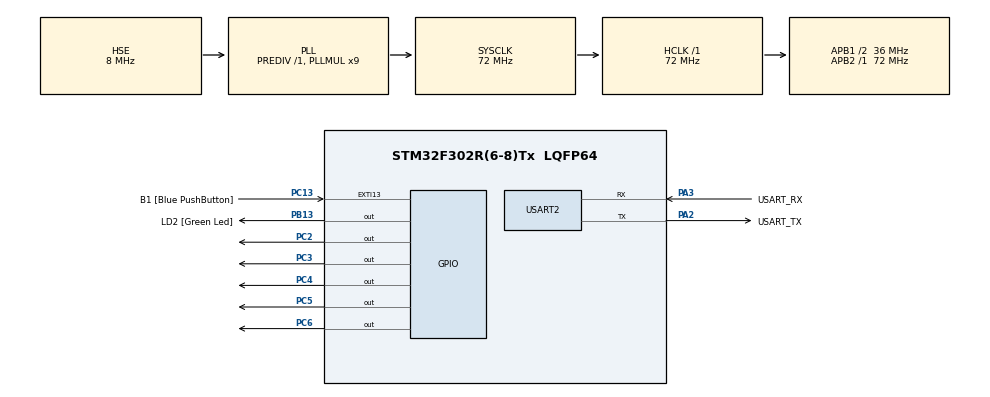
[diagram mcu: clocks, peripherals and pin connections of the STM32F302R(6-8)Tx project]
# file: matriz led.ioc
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Mcu.Family=STM32F3
Mcu.Name=STM32F302R(6-8)Tx
Mcu.Package=LQFP64
NVIC.PriorityGroup=NVIC_PRIORITYGROUP_0
PA13.GPIO_Label=TMS
PA13.Mode=Serial_Wire
PA13.Signal=SYS_JTMS-SWDIO
PA14.GPIO_Label=TCK
PA14.Mode=Serial_Wire
PA14.Signal=SYS_JTCK-SWCLK
PA2.GPIO_Label=USART_TX
PA2.GPIO_Mode=GPIO_MODE_AF_PP
PA2.GPIO_PuPd=GPIO_NOPULL
PA2.GPIO_Speed=GPIO_SPEED_FREQ_LOW
PA2.Mode=Asynchronous
PA2.Signal=USART2_TX
PA3.GPIO_Label=USART_RX
PA3.GPIO_Mode=GPIO_MODE_AF_PP
PA3.GPIO_PuPd=GPIO_NOPULL
PA3.GPIO_Speed=GPIO_SPEED_FREQ_LOW
PA3.Mode=Asynchronous
PA3.Signal=USART2_RX
PB13.GPIO_Label=LD2 [Green Led]
PB13.Signal=GPIO_Output
PB3.GPIO_Label=SWO
PB3.Mode=Trace_Asynchronous_SW
PB3.Signal=SYS_JTDO-TRACESWO
PC13.GPIO_Label=B1 [Blue PushButton]
PC13.GPIO_ModeDefaultEXTI=GPIO_MODE_IT_FALLING
PC13.Signal=GPXTI13
PC14\ -\ OSC32_IN.Signal=RCC_OSC32_IN
PC15\ -\ OSC32_OUT.Signal=RCC_OSC32_OUT
PC2.Signal=GPIO_Output
PC3.Signal=GPIO_Output
PC4.Signal=GPIO_Output
PC5.Signal=GPIO_Output
PC6.Signal=GPIO_Output
PF0-OSC_IN.Mode=HSE-External-Oscillator
PF0-OSC_IN.Signal=RCC_OSC_IN
PF1-OSC_OUT.Mode=HSE-External-Oscillator
PF1-OSC_OUT.Signal=RCC_OSC_OUT
ProjectManager.HeapSize=0x200
ProjectManager.StackSize=0x400
ProjectManager.TargetToolchain=STM32CubeIDE
RCC.AHBFreq_Value=72000000
RCC.APB1CLKDivider=RCC_HCLK_DIV2
RCC.APB1Freq_Value=36000000
RCC.APB1TimFreq_Value=72000000
RCC.APB2Freq_Value=72000000
RCC.APB2TimFreq_Value=72000000
RCC.CortexFreq_Value=72000000
RCC.HCLKFreq_Value=72000000
RCC.HSE_VALUE=8000000
RCC.HSI_VALUE=8000000
RCC.PLLM=8
RCC.PLLMUL=RCC_PLL_MUL9
RCC.PLLN=336
RCC.PLLP=RCC_PLLP_DIV4
RCC.PLLQ=7
RCC.PLLSourceVirtual=RCC_PLLSOURCE_HSE
RCC.SYSCLKFreq_VALUE=72000000
RCC.SYSCLKSourceVirtual=RCC_SYSCLKSOURCE_PLLCLK
RCC.USBFreq_Value=72000000
USART2.VirtualMode-Asynchronous=VM_ASYNC
VP_TIM6_VS_ClockSourceINT.Mode=Enable_Timer
board=NUCLEO-F302R8

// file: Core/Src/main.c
/* USER CODE BEGIN Header */
/**
  ******************************************************************************
  * @file           : main.c
  * @brief          : Main program body
  ******************************************************************************
  * @attention
  *
  * Copyright (c) 2023 STMicroelectronics.
  * All rights reserved.
  *
  * This software is licensed under terms that can be found in the LICENSE file
  * in the root directory of this software component.
  * If no LICENSE file comes with this software, it is provided AS-IS.
  *
  ******************************************************************************
  */
/* USER CODE END Header */
#include "main.h"

/* USER CODE BEGIN Includes */
#include "dotmatrix_8x8.h"
/* USER CODE END Includes */

TIM_HandleTypeDef htim6;

UART_HandleTypeDef huart2;

/* USER CODE BEGIN PV */
uint8_t myfont[36][8]={

		{0x70>>2,0x88>>2,0x98>>2,0xA8>>2,0xC8>>2,0x88>>2,0x88>>2,0x70>>2}, //0
		{0x20>>2,0x60>>2,0x20>>2,0x20>>2,0x20>>2,0x20>>2,0x20>>2,0x70>>2}, //1
		{0x70>>2,0x88>>2,0x08>>2,0x10>>2,0x20>>2,0x40>>2,0x80>>2,0xF8>>2}, //2
		{0x70>>2,0x88>>2,0x08>>2,0x30>>2,0x08>>2,0x08>>2,0x88>>2,0x70>>2}, //3
		{0x10>>2,0x30>>2,0x50>>2,0x90>>2,0xF8>>2,0x10>>2,0x10>>2,0x10>>2}, //4
		{0xF8>>2,0x80>>2,0x80>>2,0xF0>>2,0x08>>2,0x08>>2,0x88>>2,0x70>>2}, //5
		{0x18>>2,0x20>>2,0x40>>2,0x80>>2,0xF0>>2,0x88>>2,0x88>>2,0x70>>2}, //6
		{0xF8>>2,0x08>>2,0x10>>2,0x20>>2,0x40>>2,0x40>>2,0x40>>2,0x40>>2}, //7
		{0x70>>2,0x88>>2,0x88>>2,0x70>>2,0x88>>2,0x88>>2,0x88>>2,0x70>>2}, //8
		{0x70>>2,0x88>>2,0x88>>2,0x88>>2,0x78>>2,0x08>>2,0x10>>2,0x60>>2}, //9
		{0x70>>2,0x88>>2,0x88>>2,0x88>>2,0xF8>>2,0x88>>2,0x88>>2,0x88>>2}, // A   ,10
		{0xF0>>2,0x88>>2,0x88>>2,0xF0>>2,0x88>>2,0x88>>2,0x88>>2,0xF0>>2}, // B   ,11
		{0x70>>2,0x88>>2,0x80>>2,0x80>>2,0x80>>2,0x80>>2,0x88>>2,0x70>>2}, // C		,12
		{0xE0>>2,0x90>>2,0x88>>2,0x88>>2,0x88>>2,0x88>>2,0x90>>2,0xE0>>2}, // D		,13
		{0xF8>>2,0x80>>2,0x80>>2,0xF0>>2,0x80>>2,0x80>>2,0x80>>2,0xF8>>2}, // E		,14
		{0xF8>>2,0x80>>2,0x80>>2,0xF0>>2,0x80>>2,0x80>>2,0x80>>2,0x80>>2}, // F		,15
		{0x70>>2,0x88>>2,0x80>>2,0x80>>2,0xB8>>2,0x88>>2,0x88>>2,0x70>>2}, // G		,16
		{0x88>>2,0x88>>2,0x88>>2,0xF8>>2,0x88>>2,0x88>>2,0x88>>2,0x88>>2}, // H		,17
		{0xF8>>2,0x20>>2,0x20>>2,0x20>>2,0x20>>2,0x20>>2,0x20>>2,0xF8>>2}, // I		,18
		{0x08>>2,0x08>>2,0x08>>2,0x08>>2,0x08>>2,0x88>>2,0x88>>2,0x70>>2}, // J		,19
		{0x88>>2,0x90>>2,0xA0>>2,0xC0>>2,0xC0>>2,0xA0>>2,0x90>>2,0x88>>2}, // K		,20
		{0x80>>2,0x80>>2,0x80>>2,0x80>>2,0x80>>2,0x80>>2,0x80>>2,0xF8>>2}, // L		,21
		{0x88>>2,0xD8>>2,0xA8>>2,0xA8>>2,0x88>>2,0x88>>2,0x88>>2,0x88>>2}, // M		,22
		{0x88>>2,0xC8>>2,0xA8>>2,0xA8>>2,0x98>>2,0x88>>2,0x88>>2,0x88>>2}, // N		,23
		{0x70>>2,0x88>>2,0x88>>2,0x88>>2,0x88>>2,0x88>>2,0x88>>2,0x70>>2}, // O		,24
		{0xF0>>2,0x88>>2,0x88>>2,0x88>>2,0xF0>>2,0x80>>2,0x80>>2,0x80>>2}, // P		,25
		{0x70>>2,0x88>>2,0x88>>2,0x88>>2,0x88>>2,0xA8>>2,0x90>>2,0x68>>2}, // Q		,26
		{0xF0>>2,0x88>>2,0x88>>2,0x88>>2,0xF0>>2,0xA0>>2,0x90>>2,0x88>>2}, // R		,27
		{0x78>>2,0x80>>2,0x80>>2,0x70>>2,0x08>>2,0x08>>2,0x08>>2,0xF0>>2}, // S		,28
		{0xF8>>2,0x20>>2,0x20>>2,0x20>>2,0x20>>2,0x20>>2,0x20>>2,0x20>>2}, // T		,29
		{0x88>>2,0x88>>2,0x88>>2,0x88>>2,0x88>>2,0x88>>2,0x88>>2,0x70>>2}, // U   ,30
		{0x88>>2,0x88>>2,0x88>>2,0x88>>2,0x50>>2,0x50>>2,0x20>>2,0x20>>2}, // V		,31
		{0x88>>2,0x88>>2,0x88>>2,0x88>>2,0xA8>>2,0xA8>>2,0xD8>>2,0x88>>2}, // W		,32
		{0x88>>2,0x88>>2,0x50>>2,0x20>>2,0x20>>2,0x50>>2,0x88>>2,0x88>>2}, // X		,33
		{0x88>>2,0x88>>2,0x88>>2,0x50>>2,0x20>>2,0x20>>2,0x20>>2,0x20>>2}, // Y		,34
		{0xF8>>2,0x08>>2,0x10>>2,0x20>>2,0x20>>2,0x40>>2,0x80>>2,0xF8>>2}, // Z 	,35
};

int i = 0;

/* USER CODE END PV */

void SystemClock_Config(void);
static void MX_GPIO_Init(void);
static void MX_USART2_UART_Init(void);
static void MX_TIM6_Init(void);

int main(void)
{

  /* MCU Configuration--------------------------------------------------------*/

  /* Reset of all peripherals, Initializes the Flash interface and the Systick. */
  HAL_Init();

  /* Configure the system clock */
  SystemClock_Config();

  /* Initialize all configured peripherals */
  MX_GPIO_Init();
  MX_USART2_UART_Init();
  MX_TIM6_Init();
  /* USER CODE BEGIN 2 */
HAL_TIM_Base_Start_IT(&htim6);
  /* USER CODE END 2 */

  /* Infinite loop */
  /* USER CODE BEGIN WHILE */
  while (1)
  {

	 dotmatrix_put(myfont[i]);
	 HAL_Delay(750);
	 i=i+1;

	 if(i>35)
	 {

		 while (1){

			 dotmatrix_put(myfont[21]);
				 HAL_Delay(750);
				 dotmatrix_put(myfont[18]);
								 HAL_Delay(750);
								 dotmatrix_put(myfont[20]);
												 HAL_Delay(750);
												 dotmatrix_put(myfont[14]);
																 HAL_Delay(750);
		 }

	 }

    /* USER CODE END WHILE */

  }
}

void SystemClock_Config(void)
{
  RCC_OscInitTypeDef RCC_OscInitStruct = {0};
  RCC_ClkInitTypeDef RCC_ClkInitStruct = {0};

  /** Initializes the RCC Oscillators according to the specified parameters
  * in the RCC_OscInitTypeDef structure.
  */
  RCC_OscInitStruct.OscillatorType = RCC_OSCILLATORTYPE_HSE;
  RCC_OscInitStruct.HSEState = RCC_HSE_ON;
  RCC_OscInitStruct.HSEPredivValue = RCC_HSE_PREDIV_DIV1;
  RCC_OscInitStruct.HSIState = RCC_HSI_ON;
  RCC_OscInitStruct.PLL.PLLState = RCC_PLL_ON;
  RCC_OscInitStruct.PLL.PLLSource = RCC_PLLSOURCE_HSE;
  RCC_OscInitStruct.PLL.PLLMUL = RCC_PLL_MUL9;
  if (HAL_RCC_OscConfig(&RCC_OscInitStruct) != HAL_OK)
  {
    Error_Handler();
  }

  /** Initializes the CPU, AHB and APB buses clocks
  */
  RCC_ClkInitStruct.ClockType = RCC_CLOCKTYPE_HCLK|RCC_CLOCKTYPE_SYSCLK
                              |RCC_CLOCKTYPE_PCLK1|RCC_CLOCKTYPE_PCLK2;
  RCC_ClkInitStruct.SYSCLKSource = RCC_SYSCLKSOURCE_PLLCLK;
  RCC_ClkInitStruct.AHBCLKDivider = RCC_SYSCLK_DIV1;
  RCC_ClkInitStruct.APB1CLKDivider = RCC_HCLK_DIV2;
  RCC_ClkInitStruct.APB2CLKDivider = RCC_HCLK_DIV1;

  if (HAL_RCC_ClockConfig(&RCC_ClkInitStruct, FLASH_LATENCY_2) != HAL_OK)
  {
    Error_Handler();
  }
}

static void MX_TIM6_Init(void)
{

  TIM_MasterConfigTypeDef sMasterConfig = {0};

  htim6.Instance = TIM6;
  htim6.Init.Prescaler = 0;
  htim6.Init.CounterMode = TIM_COUNTERMODE_UP;
  htim6.Init.Period = 65535;
  htim6.Init.AutoReloadPreload = TIM_AUTORELOAD_PRELOAD_DISABLE;
  if (HAL_TIM_Base_Init(&htim6) != HAL_OK)
  {
    Error_Handler();
  }
  sMasterConfig.MasterOutputTrigger = TIM_TRGO_RESET;
  sMasterConfig.MasterSlaveMode = TIM_MASTERSLAVEMODE_DISABLE;
  if (HAL_TIMEx_MasterConfigSynchronization(&htim6, &sMasterConfig) != HAL_OK)
  {
    Error_Handler();
  }

}

static void MX_USART2_UART_Init(void)
{

  huart2.Instance = USART2;
  huart2.Init.BaudRate = 38400;
  huart2.Init.WordLength = UART_WORDLENGTH_8B;
  huart2.Init.StopBits = UART_STOPBITS_1;
  huart2.Init.Parity = UART_PARITY_NONE;
  huart2.Init.Mode = UART_MODE_TX_RX;
  huart2.Init.HwFlowCtl = UART_HWCONTROL_NONE;
  huart2.Init.OverSampling = UART_OVERSAMPLING_16;
  huart2.Init.OneBitSampling = UART_ONE_BIT_SAMPLE_DISABLE;
  huart2.AdvancedInit.AdvFeatureInit = UART_ADVFEATURE_NO_INIT;
  if (HAL_UART_Init(&huart2) != HAL_OK)
  {
    Error_Handler();
  }

}

static void MX_GPIO_Init(void)
{
  GPIO_InitTypeDef GPIO_InitStruct = {0};

  /* GPIO Ports Clock Enable */
  __HAL_RCC_GPIOC_CLK_ENABLE();
  __HAL_RCC_GPIOF_CLK_ENABLE();
  __HAL_RCC_GPIOA_CLK_ENABLE();
  __HAL_RCC_GPIOB_CLK_ENABLE();

  /*Configure GPIO pin Output Level */
  HAL_GPIO_WritePin(GPIOC, GPIO_PIN_2|GPIO_PIN_3|GPIO_PIN_4|GPIO_PIN_5
                          |GPIO_PIN_6, GPIO_PIN_RESET);

  /*Configure GPIO pin Output Level */
  HAL_GPIO_WritePin(LD2_GPIO_Port, LD2_Pin, GPIO_PIN_RESET);

  /*Configure GPIO pin : B1_Pin */
  GPIO_InitStruct.Pin = B1_Pin;
  GPIO_InitStruct.Mode = GPIO_MODE_IT_FALLING;
  GPIO_InitStruct.Pull = GPIO_NOPULL;
  HAL_GPIO_Init(B1_GPIO_Port, &GPIO_InitStruct);

  /*Configure GPIO pins : PC2 PC3 PC4 PC5
                           PC6 */
  GPIO_InitStruct.Pin = GPIO_PIN_2|GPIO_PIN_3|GPIO_PIN_4|GPIO_PIN_5
                          |GPIO_PIN_6;
  GPIO_InitStruct.Mode = GPIO_MODE_OUTPUT_PP;
  GPIO_InitStruct.Pull = GPIO_NOPULL;
  GPIO_InitStruct.Speed = GPIO_SPEED_FREQ_LOW;
  HAL_GPIO_Init(GPIOC, &GPIO_InitStruct);

  /*Configure GPIO pin : LD2_Pin */
  GPIO_InitStruct.Pin = LD2_Pin;
  GPIO_InitStruct.Mode = GPIO_MODE_OUTPUT_PP;
  GPIO_InitStruct.Pull = GPIO_NOPULL;
  GPIO_InitStruct.Speed = GPIO_SPEED_FREQ_LOW;
  HAL_GPIO_Init(LD2_GPIO_Port, &GPIO_InitStruct);

}

void Error_Handler(void)
{
  __disable_irq();
  while (1)
  {
  }
}
